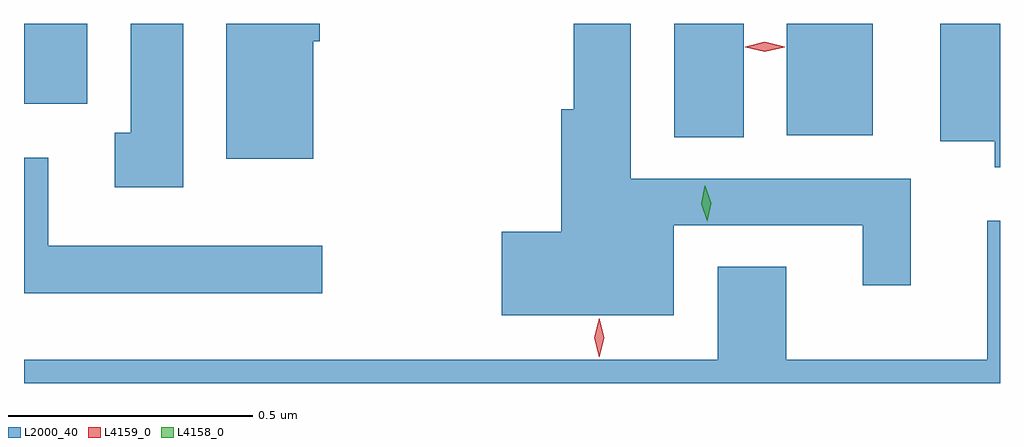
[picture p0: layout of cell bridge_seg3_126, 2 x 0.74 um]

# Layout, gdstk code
import gdstk
lib = gdstk.Library(unit=1e-6, precision=1e-09)
def R(c, l, rs):  # rectangles x0, y0, x1, y1
    for r in rs: c.add(gdstk.rectangle(r[:2], r[2:], *l))
def P(c, l, *ps):  # polygons
    for p in ps: c.add(gdstk.Polygon(p, *l))
L2000_40 = (2000, 40)
L4158_0 = (4158, 0)
L4159_0 = (4159, 0)

bridge_seg3_126 = lib.new_cell('bridge_seg3_126')
R(bridge_seg3_126, L2000_40, [(187.997,666.904,188.14,667.136), (188.228,666.908,188.404,667.136), (186.665,666.972,186.795,667.136)])
P(bridge_seg3_126, L2000_40, [(187.996,666.723),(188.384,666.723),(188.384,666.6),(188.482,666.6),(188.482,666.819),(187.908,666.819),(187.908,667.136),(187.792,667.136),(187.792,666.961),(187.766,666.961),(187.766,666.71),(187.644,666.71),(187.644,666.539),(187.996,666.539)],
  [(188.665,667.136),(188.543,667.136),(188.543,666.896),(188.654,666.896),(188.654,666.842),(188.665,666.842)],
  [(186.991,667.136),(186.884,667.136),(186.884,666.913),(186.851,666.913),(186.851,666.801),(186.991,666.801)],
  [(187.258,667.1),(187.271,667.1),(187.271,667.136),(187.079,667.136),(187.079,666.86),(187.258,666.86)],
  [(187.276,666.681),(186.715,666.681),(186.715,666.862),(186.665,666.862),(186.665,666.584),(187.276,666.584)],
  [(188.665,666.733),(188.639,666.733),(188.639,666.448),(188.227,666.448),(188.227,666.638),(188.087,666.638),(188.087,666.448),(186.665,666.448),(186.665,666.4),(188.665,666.4)])
P(bridge_seg3_126, L4158_0, [(188.065,666.732),(188.065,666.732),(188.053,666.768),(188.06,666.804),(188.061,666.804),(188.061,666.804),(188.073,666.769),(188.065,666.732)])
P(bridge_seg3_126, L4159_0, [(188.183,667.079),(188.143,667.088),(188.143,667.089),(188.143,667.089),(188.183,667.099),(188.224,667.089),(188.224,667.089),(188.224,667.088)],
  [(187.844,666.453),(187.844,666.453),(187.834,666.493),(187.844,666.533),(187.844,666.533),(187.844,666.533),(187.854,666.493),(187.844,666.453)])

lib.write_gds('bridge_seg3_126.gds')
